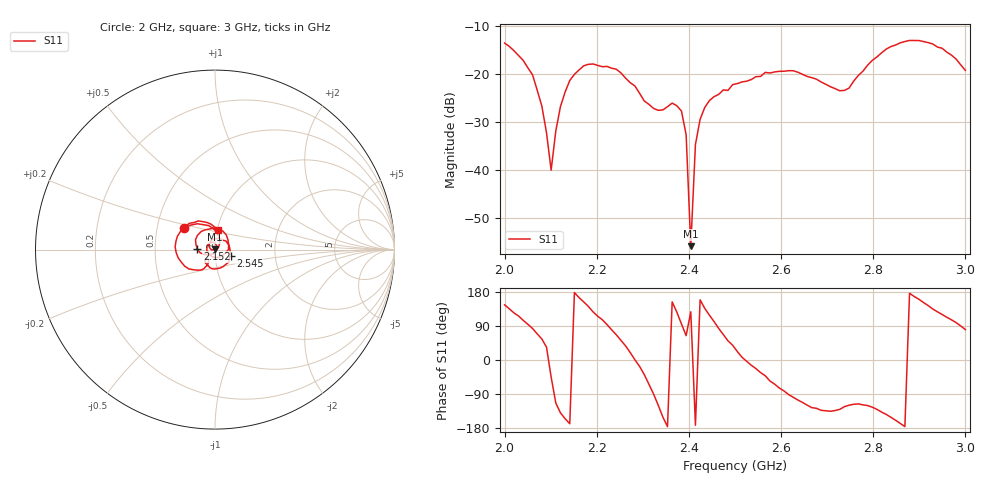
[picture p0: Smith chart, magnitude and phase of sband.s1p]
# MHz S MA R 50
!  freq  S11
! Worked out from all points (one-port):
!   100 points, 2 GHz to 3 GHz, reference 50 ohm
!   lowest |S11| = -55.8 dB at 2.404 GHz (marker M1), VSWR 1.00, Z = 49.9 + j0.13 ohm
!   |S11| at or under -10 dB: start of sweep to end of sweep
!   S11 on the Smith chart (normalised r, x): 2 GHz: 0.69, +0.17; 2.152 GHz: 0.82, +0.01; 2.545 GHz: 1.19, -0.09; 3 GHz: 1.01, +0.22
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2000  0.2092 145.5
2060.606  0.09789 83.2
2080.808  0.04636 55.4
2090.909  0.02458 33.9
2101.01  0.01003 -45.0
2111.111  0.02565 -113.4
2121.212  0.0459 -139.5
2131.313  0.06489 -154.9
2151.515  0.099 178.0
2191.919  0.1269 127.0
2252.525  0.1026 51.7
2323.232  0.04392 -89.7
2363.636  0.04981 153.4
2383.838  0.04117 95.0
2393.939  0.02342 64.4
2404.04  0.00163 127.0
2414.141  0.01853 -172.2
2424.242  0.03377 158.8
2444.444  0.0529 118.3
2505.051  0.07948 22.3
2545.455  0.09372 -22.8
2626.263  0.108 -98.3
2727.273  0.06691 -130.3
2757.576  0.08423 -116.9
2828.283  0.1813 -143.6
2878.788  0.2227 176.1
2949.495  0.1847 120.1
3000  0.1089 80.2
